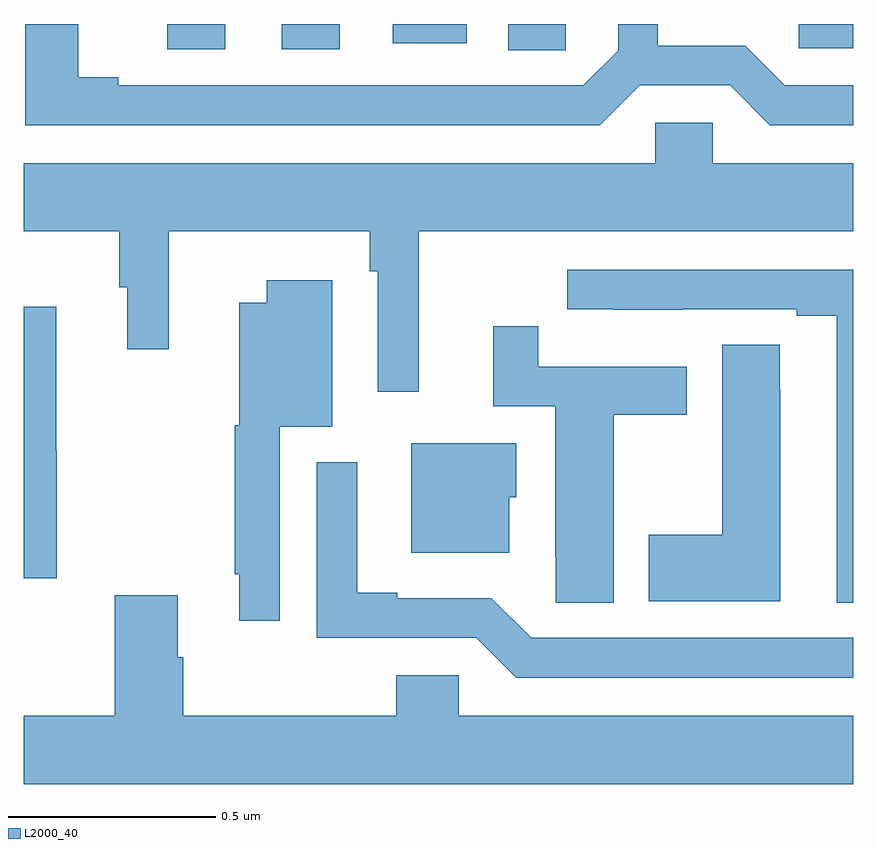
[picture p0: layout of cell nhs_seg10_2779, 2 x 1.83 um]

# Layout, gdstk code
import gdstk
lib = gdstk.Library(unit=1e-6, precision=1e-09)
def R(c, l, rs):  # rectangles x0, y0, x1, y1
    for r in rs: c.add(gdstk.rectangle(r[:2], r[2:], *l))
def P(c, l, *ps):  # polygons
    for p in ps: c.add(gdstk.Polygon(p, *l))
L2000_40 = (2000, 40)

nhs_seg10_2779 = lib.new_cell('nhs_seg10_2779')
R(nhs_seg10_2779, L2000_40, [(146.168,1283.437,146.307,1283.5), (145.346,1283.439,145.486,1283.5), (145.622,1283.439,145.762,1283.5), (146.868,1283.442,147,1283.5), (145.89,1283.454,146.068,1283.5)])
P(nhs_seg10_2779, L2000_40, [(146.485,1283.352),(146.703,1283.352),(146.799,1283.256),(147,1283.256),(147,1283.352),(146.835,1283.352),(146.739,1283.448),(146.529,1283.448),(146.529,1283.5),(146.433,1283.5),(146.433,1283.436),(146.349,1283.352),(145.228,1283.352),(145.228,1283.372),(145.132,1283.372),(145.132,1283.5),(145.004,1283.5),(145.004,1283.256),(146.389,1283.256)],
  [(145.952,1283),(147,1283),(147,1283.164),(146.661,1283.164),(146.661,1283.262),(146.523,1283.262),(146.523,1283.164),(145,1283.164),(145,1283),(145.231,1283),(145.231,1282.866),(145.25,1282.866),(145.25,1282.716),(145.35,1282.716),(145.35,1283),(145.834,1283),(145.834,1282.904),(145.854,1282.904),(145.854,1282.614),(145.952,1282.614)],
  [(147,1282.908),(146.31,1282.908),(146.31,1282.812),(146.422,1282.812),(146.422,1282.811),(146.588,1282.811),(146.588,1282.812),(146.864,1282.812),(146.864,1282.797),(146.96,1282.797),(146.96,1282.105),(147,1282.105)],
  [(145.617,1282.529),(145.744,1282.529),(145.744,1282.882),(145.586,1282.882),(145.586,1282.828),(145.52,1282.828),(145.52,1282.533),(145.509,1282.533),(145.509,1282.174),(145.52,1282.174),(145.52,1282.062),(145.617,1282.062)],
  [(145.08,1282.47),(145.078,1282.47),(145.078,1282.819),(145,1282.819),(145,1282.164),(145.08,1282.164)],
  [(146.422,1282.558),(146.599,1282.558),(146.599,1282.674),(146.24,1282.674),(146.24,1282.771),(146.132,1282.771),(146.132,1282.578),(146.282,1282.578),(146.282,1282.216),(146.283,1282.216),(146.283,1282.105),(146.422,1282.105)],
  [(146.824,1282.619),(146.823,1282.619),(146.823,1282.727),(146.684,1282.727),(146.684,1282.269),(146.507,1282.269),(146.507,1282.109),(146.824,1282.109)],
  [(146.17,1282.359),(146.188,1282.359),(146.188,1282.489),(145.934,1282.489),(145.934,1282.226),(146.17,1282.226)],
  [(147,1282.02),(146.223,1282.02),(146.127,1282.116),(145.9,1282.116),(145.9,1282.129),(145.804,1282.129),(145.804,1282.444),(145.707,1282.444),(145.707,1282.02),(146.091,1282.02),(146.187,1281.924),(147,1281.924)],
  [(147,1281.832),(146.049,1281.832),(146.049,1281.93),(145.898,1281.93),(145.898,1281.832),(145.385,1281.832),(145.385,1281.974),(145.372,1281.974),(145.372,1282.123),(145.22,1282.123),(145.22,1281.832),(145,1281.832),(145,1281.668),(147,1281.668)])

lib.write_gds('nhs_seg10_2779.gds')
